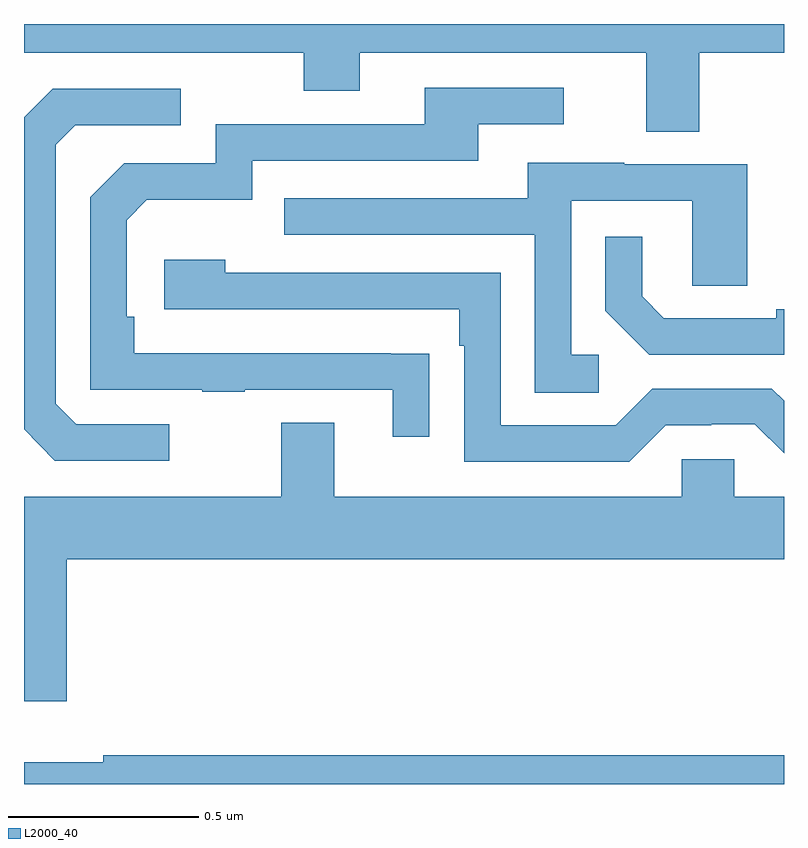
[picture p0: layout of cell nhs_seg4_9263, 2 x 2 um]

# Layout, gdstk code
import gdstk
lib = gdstk.Library(unit=1e-6, precision=1e-09)
def P(c, l, *ps):  # polygons
    for p in ps: c.add(gdstk.Polygon(p, *l))
L2000_40 = (2000, 40)

nhs_seg4_9263 = lib.new_cell('nhs_seg4_9263')
P(nhs_seg4_9263, L2000_40, [(226.777,792.824),(227,792.824),(227,792.9),(225,792.9),(225,792.824),(225.736,792.824),(225.736,792.725),(225.883,792.725),(225.883,792.824),(226.637,792.824),(226.637,792.616),(226.777,792.616)],
  [(226.067,792.032),(225.965,792.032),(225.965,792.033),(225.29,792.033),(225.29,792.13),(225.27,792.13),(225.27,792.384),(225.323,792.437),(225.6,792.437),(225.6,792.54),(226.195,792.54),(226.195,792.636),(226.42,792.636),(226.42,792.732),(226.055,792.732),(226.055,792.636),(225.504,792.636),(225.504,792.534),(225.264,792.534),(225.174,792.444),(225.174,791.937),(225.469,791.937),(225.469,791.932),(225.581,791.932),(225.581,791.937),(225.971,791.937),(225.971,791.814),(226.067,791.814)],
  [(225.382,791.847),(225.138,791.847),(225.084,791.901),(225.084,792.582),(225.135,792.633),(225.412,792.633),(225.412,792.729),(225.075,792.729),(225,792.654),(225,791.833),(225.081,791.751),(225.382,791.751)],
  [(226.513,792.03),(226.44,792.03),(226.44,792.435),(226.758,792.435),(226.758,792.211),(226.903,792.211),(226.903,792.531),(226.579,792.531),(226.579,792.535),(226.325,792.535),(226.325,792.441),(225.685,792.441),(225.685,792.345),(226.344,792.345),(226.344,791.929),(226.513,791.929)],
  [(227,792.149),(226.979,792.149),(226.979,792.126),(226.684,792.126),(226.627,792.183),(226.627,792.34),(226.53,792.34),(226.53,792.146),(226.646,792.03),(227,792.03)],
  [(226.689,791.844),(226.808,791.844),(226.808,791.847),(226.923,791.847),(227,791.77),(227,791.908),(226.968,791.94),(226.653,791.94),(226.557,791.844),(226.254,791.844),(226.254,792.246),(225.53,792.246),(225.53,792.28),(225.369,792.28),(225.369,792.15),(226.145,792.15),(226.145,792.053),(226.158,792.053),(226.158,791.748),(226.593,791.748)],
  [(225.112,791.492),(227,791.492),(227,791.656),(226.869,791.656),(226.869,791.754),(226.731,791.754),(226.731,791.656),(225.817,791.656),(225.817,791.851),(225.677,791.851),(225.677,791.656),(225,791.656),(225,791.118),(225.112,791.118)],
  [(227,790.976),(225.208,790.976),(225.208,790.957),(225,790.957),(225,790.9),(227,790.9)])

lib.write_gds('nhs_seg4_9263.gds')
